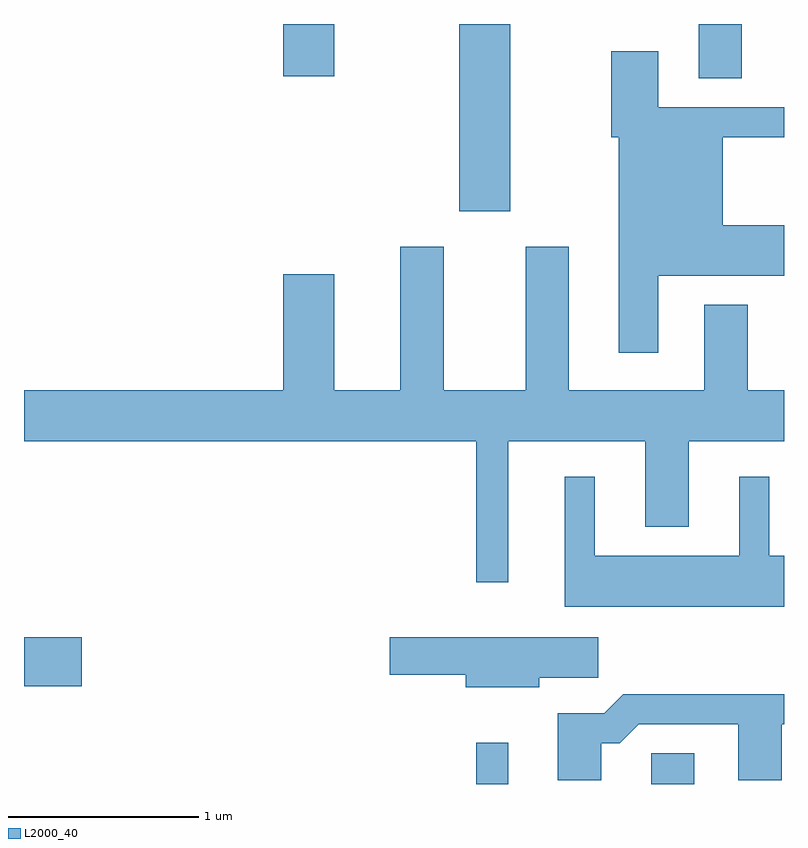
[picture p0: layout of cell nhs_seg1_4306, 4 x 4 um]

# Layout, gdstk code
import gdstk
lib = gdstk.Library(unit=1e-6, precision=1e-09)
def R(c, l, rs):  # rectangles x0, y0, x1, y1
    for r in rs: c.add(gdstk.rectangle(r[:2], r[2:], *l))
def P(c, l, *ps):  # polygons
    for p in ps: c.add(gdstk.Polygon(p, *l))
L2000_40 = (2000, 40)

nhs_seg1_4306 = lib.new_cell('nhs_seg1_4306')
R(nhs_seg1_4306, L2000_40, [(315.991,957.712,316.159,957.928), (316.911,957.712,317.139,957.874), (313.611,958.226,313.914,958.484), (315.901,960.726,316.169,961.712), (317.161,961.426,317.389,961.712), (314.976,961.436,315.244,961.712)])
P(nhs_seg1_4306, L2000_40, [(316.949,960.386),(317.611,960.386),(317.611,960.654),(317.289,960.654),(317.289,961.116),(317.611,961.116),(317.611,961.274),(316.949,961.274),(316.949,961.569),(316.701,961.569),(316.701,961.116),(316.741,961.116),(316.741,959.981),(316.949,959.981)],
  [(316.159,959.516),(316.881,959.516),(316.881,959.066),(317.109,959.066),(317.109,959.516),(317.611,959.516),(317.611,959.784),(317.419,959.784),(317.419,960.234),(317.191,960.234),(317.191,959.784),(316.479,959.784),(316.479,960.539),(316.251,960.539),(316.251,959.784),(315.819,959.784),(315.819,960.539),(315.591,960.539),(315.591,959.784),(315.244,959.784),(315.244,960.394),(314.976,960.394),(314.976,959.784),(313.611,959.784),(313.611,959.516),(315.991,959.516),(315.991,958.773),(316.159,958.773)],
  [(317.611,958.914),(317.534,958.914),(317.534,959.328),(317.376,959.328),(317.376,958.914),(316.614,958.914),(316.614,959.328),(316.456,959.328),(316.456,958.646),(317.611,958.646)],
  [(316.324,958.271),(316.634,958.271),(316.634,958.484),(315.536,958.484),(315.536,958.286),(315.936,958.286),(315.936,958.221),(316.324,958.221)],
  [(316.649,957.926),(316.747,957.926),(316.847,958.026),(317.371,958.026),(317.371,957.731),(317.599,957.731),(317.599,958.026),(317.611,958.026),(317.611,958.184),(316.764,958.184),(316.664,958.084),(316.421,958.084),(316.421,957.731),(316.649,957.731)])

lib.write_gds('nhs_seg1_4306.gds')
